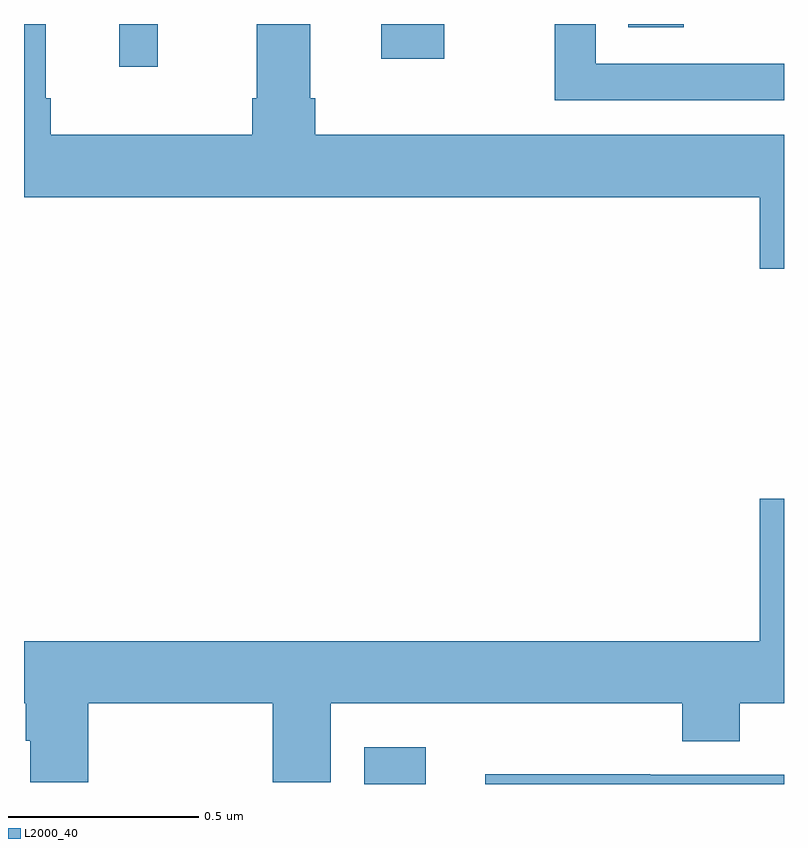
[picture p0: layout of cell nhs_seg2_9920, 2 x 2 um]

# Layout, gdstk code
import gdstk
lib = gdstk.Library(unit=1e-6, precision=1e-09)
def R(c, l, rs):  # rectangles x0, y0, x1, y1
    for r in rs: c.add(gdstk.rectangle(r[:2], r[2:], *l))
def P(c, l, *ps):  # polygons
    for p in ps: c.add(gdstk.Polygon(p, *l))
L2000_40 = (2000, 40)

nhs_seg2_9920 = lib.new_cell('nhs_seg2_9920')
R(nhs_seg2_9920, L2000_40, [(235.896,604.8,236.057,604.897), (235.25,606.687,235.352,606.8), (235.94,606.708,236.106,606.8), (236.59,606.792,236.736,606.8)])
P(nhs_seg2_9920, L2000_40, [(236.936,606.156),(237,606.156),(237,606.508),(235.766,606.508),(235.766,606.604),(235.753,606.604),(235.753,606.8),(235.613,606.8),(235.613,606.604),(235.601,606.604),(235.601,606.508),(235.07,606.508),(235.07,606.604),(235.057,606.604),(235.057,606.8),(235,606.8),(235,606.344),(236.936,606.344)],
  [(237,606.696),(236.505,606.696),(236.505,606.8),(236.397,606.8),(236.397,606.6),(237,606.6)],
  [(235.169,605.012),(235.655,605.012),(235.655,604.804),(235.807,604.804),(235.807,605.012),(236.732,605.012),(236.732,604.913),(236.884,604.913),(236.884,605.012),(237,605.012),(237,605.551),(236.936,605.551),(236.936,605.176),(235,605.176),(235,605.012),(235.004,605.012),(235.004,604.914),(235.016,604.914),(235.016,604.804),(235.169,604.804)],
  [(237,604.824),(236.648,604.824),(236.648,604.826),(236.214,604.826),(236.214,604.8),(237,604.8)])

lib.write_gds('nhs_seg2_9920.gds')
